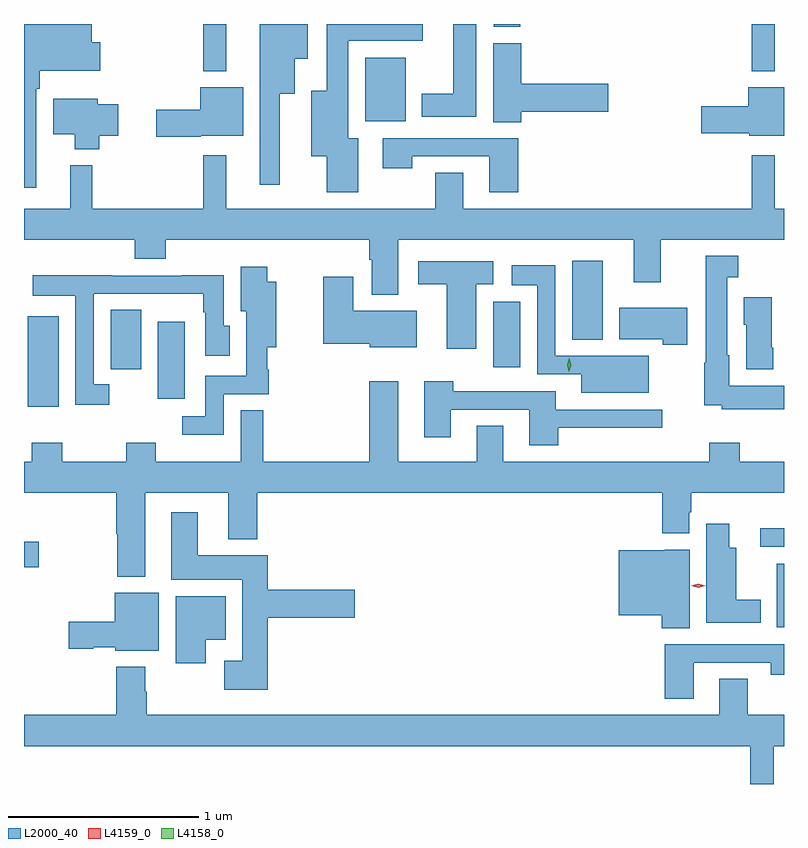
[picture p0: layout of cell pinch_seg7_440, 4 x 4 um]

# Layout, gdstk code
import gdstk
lib = gdstk.Library(unit=1e-6, precision=1e-09)
def R(c, l, rs):  # rectangles x0, y0, x1, y1
    for r in rs: c.add(gdstk.rectangle(r[:2], r[2:], *l))
def P(c, l, *ps):  # polygons
    for p in ps: c.add(gdstk.Polygon(p, *l))
L2000_40 = (2000, 40)
L4158_0 = (4158, 0)
L4159_0 = (4159, 0)

pinch_seg7_440 = lib.new_cell('pinch_seg7_440')
R(pinch_seg7_440, L2000_40, [(269.852,1051.856,269.889,1052.191), (265.889,1052.174,265.966,1052.308), (269.763,1052.28,269.889,1052.378), (265.91,1053.018,266.071,1053.493), (266.594,1053.06,266.734,1053.466), (266.345,1053.216,266.506,1053.527), (268.358,1053.225,268.501,1053.571), (268.775,1053.371,268.936,1053.787), (267.686,1054.52,267.898,1054.855), (266.832,1054.784,266.953,1055.032), (269.718,1054.784,269.839,1055.032), (268.361,1055.017,268.502,1055.032)])
P(pinch_seg7_440, L2000_40, [(267.235,1054.664),(267.313,1054.664),(267.313,1054.85),(267.382,1054.85),(267.382,1055.032),(267.131,1055.032),(267.131,1054.185),(267.235,1054.185)],
  [(265.953,1054.691),(265.973,1054.691),(265.973,1054.787),(266.29,1054.787),(266.29,1054.935),(266.246,1054.935),(266.246,1055.032),(265.889,1055.032),(265.889,1054.17),(265.953,1054.17)],
  [(268.27,1055.032),(268.148,1055.032),(268.148,1054.666),(267.983,1054.666),(267.983,1054.544),(268.27,1054.544)],
  [(267.649,1054.432),(267.595,1054.432),(267.595,1054.944),(267.988,1054.944),(267.988,1055.032),(267.482,1055.032),(267.482,1054.681),(267.401,1054.681),(267.401,1054.337),(267.482,1054.337),(267.482,1054.146),(267.649,1054.146)],
  [(268.505,1054.571),(268.963,1054.571),(268.963,1054.718),(268.505,1054.718),(268.505,1054.932),(268.358,1054.932),(268.358,1054.516),(268.505,1054.516)],
  [(269.889,1054.699),(269.702,1054.699),(269.702,1054.598),(269.454,1054.598),(269.454,1054.456),(269.706,1054.456),(269.706,1054.445),(269.889,1054.445)],
  [(266.82,1054.445),(267.043,1054.445),(267.043,1054.699),(266.816,1054.699),(266.816,1054.58),(266.586,1054.58),(266.586,1054.438),(266.82,1054.438)],
  [(266.286,1054.444),(266.386,1054.444),(266.386,1054.609),(266.278,1054.609),(266.278,1054.639),(266.042,1054.639),(266.042,1054.451),(266.156,1054.451),(266.156,1054.373),(266.286,1054.373)],
  [(268.49,1054.431),(267.777,1054.431),(267.777,1054.272),(267.933,1054.272),(267.933,1054.335),(268.337,1054.335),(268.337,1054.146),(268.49,1054.146)],
  [(267.859,1053.896),(269.099,1053.896),(269.099,1053.672),(269.239,1053.672),(269.239,1053.896),(269.889,1053.896),(269.889,1054.06),(269.839,1054.06),(269.839,1054.342),(269.718,1054.342),(269.718,1054.06),(268.201,1054.06),(268.201,1054.25),(268.054,1054.25),(268.054,1054.06),(266.953,1054.06),(266.953,1054.342),(266.832,1054.342),(266.832,1054.06),(266.249,1054.06),(266.249,1054.288),(266.132,1054.288),(266.132,1054.06),(265.889,1054.06),(265.889,1053.896),(266.471,1053.896),(266.471,1053.797),(266.636,1053.797),(266.636,1053.896),(267.707,1053.896),(267.707,1053.79),(267.719,1053.79),(267.719,1053.608),(267.859,1053.608)],
  [(269.889,1053.127),(269.602,1053.127),(269.602,1053.288),(269.59,1053.288),(269.59,1053.698),(269.647,1053.698),(269.647,1053.811),(269.477,1053.811),(269.477,1053.248),(269.47,1053.248),(269.47,1053.026),(269.562,1053.026),(269.562,1053.005),(269.889,1053.005)],
  [(268.27,1053.662),(268.36,1053.662),(268.36,1053.784),(267.963,1053.784),(267.963,1053.662),(268.115,1053.662),(268.115,1053.324),(268.27,1053.324)],
  [(269.176,1053.286),(268.932,1053.286),(268.932,1053.285),(268.686,1053.285),(268.686,1053.763),(268.455,1053.763),(268.455,1053.656),(268.59,1053.656),(268.59,1053.189),(268.823,1053.189),(268.823,1053.092),(269.176,1053.092)],
  [(266.94,1053.084),(267.178,1053.084),(267.178,1053.212),(267.17,1053.212),(267.17,1053.332),(267.217,1053.332),(267.217,1053.676),(267.168,1053.676),(267.168,1053.754),(267.029,1053.754),(267.029,1053.521),(267.059,1053.521),(267.059,1053.18),(266.844,1053.18),(266.844,1052.967),(266.721,1052.967),(266.721,1052.87),(266.94,1052.87)],
  [(266.338,1053.135),(266.256,1053.135),(266.256,1053.612),(266.602,1053.612),(266.602,1053.611),(266.832,1053.611),(266.832,1053.515),(266.844,1053.515),(266.844,1053.285),(266.971,1053.285),(266.971,1053.444),(266.94,1053.444),(266.94,1053.71),(266.719,1053.71),(266.719,1053.708),(266.353,1053.708),(266.353,1053.71),(265.935,1053.71),(265.935,1053.602),(266.16,1053.602),(266.16,1053.027),(266.338,1053.027)],
  [(267.955,1053.523),(267.622,1053.523),(267.622,1053.703),(267.464,1053.703),(267.464,1053.35),(267.708,1053.35),(267.708,1053.332),(267.955,1053.332)],
  [(269.832,1053.328),(269.824,1053.328),(269.824,1053.595),(269.678,1053.595),(269.678,1053.45),(269.69,1053.45),(269.69,1053.216),(269.832,1053.216)],
  [(269.38,1053.538),(269.021,1053.538),(269.021,1053.374),(269.251,1053.374),(269.251,1053.344),(269.38,1053.344)],
  [(268.7,1052.906),(269.248,1052.906),(269.248,1053.003),(268.687,1053.003),(268.687,1053.099),(268.148,1053.099),(268.148,1053.151),(267.995,1053.151),(267.995,1052.856),(268.135,1052.856),(268.135,1053.003),(268.547,1053.003),(268.547,1052.814),(268.7,1052.814)],
  [(266.527,1052.564),(266.963,1052.564),(266.963,1052.321),(267.116,1052.321),(267.116,1052.564),(269.249,1052.564),(269.249,1052.351),(269.389,1052.351),(269.389,1052.463),(269.402,1052.463),(269.402,1052.564),(269.889,1052.564),(269.889,1052.728),(269.655,1052.728),(269.655,1052.827),(269.495,1052.827),(269.495,1052.728),(268.411,1052.728),(268.411,1052.918),(268.271,1052.918),(268.271,1052.728),(267.859,1052.728),(267.859,1053.151),(267.707,1053.151),(267.707,1052.728),(267.148,1052.728),(267.148,1052.999),(267.029,1052.999),(267.029,1052.728),(266.583,1052.728),(266.583,1052.827),(266.428,1052.827),(266.428,1052.728),(266.091,1052.728),(266.091,1052.827),(265.931,1052.827),(265.931,1052.728),(265.889,1052.728),(265.889,1052.564),(266.375,1052.564),(266.375,1052.349),(266.38,1052.349),(266.38,1052.123),(266.527,1052.123)],
  [(267.173,1051.907),(267.631,1051.907),(267.631,1052.054),(267.173,1052.054),(267.173,1052.236),(266.803,1052.236),(266.803,1052.461),(266.663,1052.461),(266.663,1052.108),(267.038,1052.108),(267.038,1051.681),(266.943,1051.681),(266.943,1051.529),(267.173,1051.529)],
  [(269.767,1052.002),(269.638,1052.002),(269.638,1052.275),(269.602,1052.275),(269.602,1052.401),(269.48,1052.401),(269.48,1051.88),(269.767,1051.88)],
  [(269.392,1052.266),(269.262,1052.266),(269.262,1052.263),(269.018,1052.263),(269.018,1051.919),(269.246,1051.919),(269.246,1051.852),(269.392,1051.852)],
  [(266.599,1052.038),(266.366,1052.038),(266.366,1051.886),(266.124,1051.886),(266.124,1051.744),(266.253,1051.744),(266.253,1051.751),(266.37,1051.751),(266.37,1051.733),(266.599,1051.733)],
  [(266.845,1051.79),(266.95,1051.79),(266.95,1052.02),(266.687,1052.02),(266.687,1051.668),(266.845,1051.668)],
  [(269.413,1051.671),(269.818,1051.671),(269.818,1051.608),(269.889,1051.608),(269.889,1051.767),(269.261,1051.767),(269.261,1051.482),(269.413,1051.482)],
  [(269.836,1051.232),(269.889,1051.232),(269.889,1051.396),(269.697,1051.396),(269.697,1051.586),(269.549,1051.586),(269.549,1051.396),(266.535,1051.396),(266.535,1051.517),(266.527,1051.517),(266.527,1051.648),(266.375,1051.648),(266.375,1051.396),(265.889,1051.396),(265.889,1051.232),(269.711,1051.232),(269.711,1051.032),(269.836,1051.032)])
P(pinch_seg7_440, L4158_0, [(268.755,1053.201),(268.755,1053.202),(268.748,1053.238),(268.76,1053.273),(268.76,1053.273),(268.76,1053.273),(268.768,1053.237),(268.755,1053.202)])
P(pinch_seg7_440, L4159_0, [(269.437,1052.066),(269.4,1052.075),(269.4,1052.075),(269.4,1052.076),(269.437,1052.086),(269.475,1052.076),(269.475,1052.076),(269.475,1052.076)])

lib.write_gds('pinch_seg7_440.gds')
